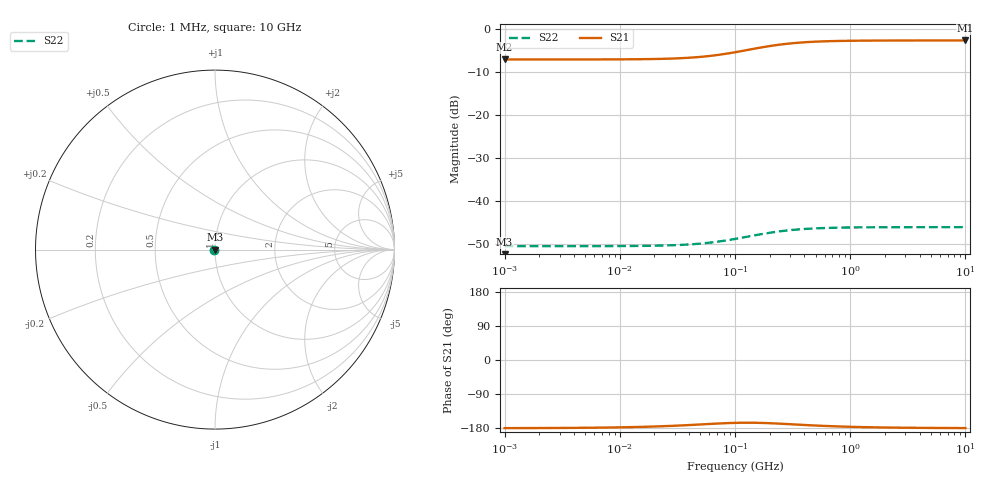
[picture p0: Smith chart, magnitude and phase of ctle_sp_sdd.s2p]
!ctle_sp, differential mode, transistor level
!ports from /home/vraje/spice2rnm-demos-wave/netlists/ctle_sp_ports.json, sweep from the default
!limits from ctle_sp_spec.md:23
! ports: 1=diff_in (100 ohm)  2=diff_out (2000 ohm)
! measured by ngspice .sp analysis, mixed mode
! port_map  /home/vraje/spice2rnm-demos-wave/netlists/ctle_sp_ports.json
! bias  natural
! sweep  1e+06 to 1e+10 Hz, 20 per decade
! tool  0.2.0 git 067f697
! note: SDD12 is not measured; the reverse slot is zero and must not be read as isolation
[Version] 2.0
# HZ S RI R 100
[Number of Ports] 2
[Two-Port Data Order] 21_12
[Reference] 100 2000
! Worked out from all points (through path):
!   81 points, 1 MHz to 10 GHz, reference per port
!   highest |S21| = -2.57 dB at 10 GHz (marker M1); lowest = -7.0 dB at 1 MHz (marker M2)
!   lowest |S11| = - dB at 1 MHz (marker M3), VSWR 1.00
!   |S11| at or under -10 dB: start of sweep to end of sweep
!   |S22| runs from -50.6 to -46.1 dB; largest |S21 - S12| = 0.74
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[Number of Frequencies] 22
[Network Data]
1000000  0 0  -0.4464 -0.00179  0 0  -0.00297 -1.19e-05
5011872  0 0  -0.4467 -0.00899  0 0  -0.00297 -5.97e-05
1.122018e7  0 0  -0.4478 -0.02  0 0  -0.00298 -0.000133
2.238721e7  0 0  -0.4517 -0.0395  0 0  -0.003 -0.000262
3.548134e7  0 0  -0.4595 -0.0609  0 0  -0.00305 -0.000405
4.466836e7  0 0  -0.4666 -0.0747  0 0  -0.0031 -0.000497
5.623413e7  0 0  -0.4771 -0.0905  0 0  -0.00317 -0.000602
7.943282e7  0 0  -0.502 -0.1159  0 0  -0.00334 -0.000771
1.122018e8  0 0  -0.5399 -0.1381  0 0  -0.00359 -0.000918
1.412538e8  0 0  -0.5716 -0.1469  0 0  -0.0038 -0.000976
1.584893e8  0 0  -0.5885 -0.1486  0 0  -0.00391 -0.000988
1.995262e8  0 0  -0.6224 -0.1462  0 0  -0.00414 -0.000972
2.511886e8  0 0  -0.6537 -0.1367  0 0  -0.00435 -0.000909
3.162278e8  0 0  -0.6798 -0.1223  0 0  -0.00452 -0.000813
3.981072e8  0 0  -0.6999 -0.1056  0 0  -0.00465 -0.000702
5.011872e8  0 0  -0.7146 -0.0887  0 0  -0.00475 -0.00059
7.079458e8  0 0  -0.7284 -0.066  0 0  -0.00484 -0.000439
1e9  0 0  -0.7359 -0.048  0 0  -0.00489 -0.000319
1.412538e9  0 0  -0.7398 -0.0344  0 0  -0.00492 -0.000229
2.238721e9  0 0  -0.7423 -0.0219  0 0  -0.00493 -0.000146
4.466836e9  0 0  -0.7435 -0.011  0 0  -0.00494 -7.33e-05
1e10  0 0  -0.7438 -0.00493  0 0  -0.00495 -3.28e-05
[End]
